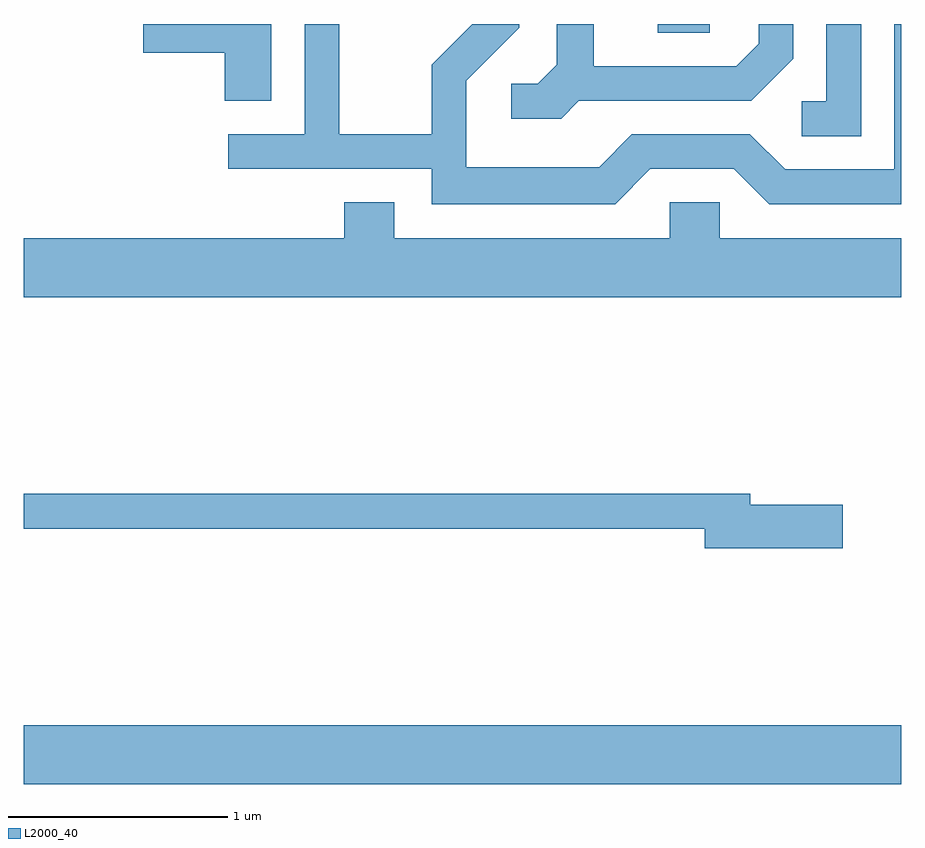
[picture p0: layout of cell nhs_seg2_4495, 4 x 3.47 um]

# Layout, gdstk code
import gdstk
lib = gdstk.Library(unit=1e-6, precision=1e-09)
def R(c, l, rs):  # rectangles x0, y0, x1, y1
    for r in rs: c.add(gdstk.rectangle(r[:2], r[2:], *l))
def P(c, l, *ps):  # polygons
    for p in ps: c.add(gdstk.Polygon(p, *l))
L2000_40 = (2000, 40)

nhs_seg2_4495 = lib.new_cell('nhs_seg2_4495')
R(nhs_seg2_4495, L2000_40, [(317.611,1028.336,321.611,1028.604), (320.501,1031.761,320.739,1031.802)])
P(nhs_seg2_4495, L2000_40, [(321.429,1031.802),(321.271,1031.802),(321.271,1031.449),(321.158,1031.449),(321.158,1031.291),(321.429,1031.291)],
  [(320.142,1031.451),(320.927,1031.451),(321.119,1031.644),(321.119,1031.802),(320.961,1031.802),(320.961,1031.712),(320.859,1031.609),(320.209,1031.609),(320.209,1031.802),(320.041,1031.802),(320.041,1031.617),(319.954,1031.529),(319.833,1031.529),(319.833,1031.371),(320.062,1031.371)],
  [(320.467,1031.141),(320.849,1031.141),(321.009,1030.981),(321.611,1030.981),(321.611,1031.802),(321.581,1031.802),(321.581,1031.139),(321.082,1031.139),(320.922,1031.299),(320.384,1031.299),(320.234,1031.149),(319.629,1031.149),(319.629,1031.544),(319.869,1031.784),(319.869,1031.802),(319.656,1031.802),(319.471,1031.617),(319.471,1031.299),(319.049,1031.299),(319.049,1031.802),(318.891,1031.802),(318.891,1031.299),(318.543,1031.299),(318.543,1031.141),(319.471,1031.141),(319.471,1030.981),(320.307,1030.981)],
  [(318.739,1031.802),(318.156,1031.802),(318.156,1031.671),(318.526,1031.671),(318.526,1031.451),(318.739,1031.451)],
  [(321.611,1030.824),(320.784,1030.824),(320.784,1030.989),(320.556,1030.989),(320.556,1030.824),(319.299,1030.824),(319.299,1030.989),(319.071,1030.989),(319.071,1030.824),(317.611,1030.824),(317.611,1030.556),(321.611,1030.556)],
  [(321.344,1029.609),(320.924,1029.609),(320.924,1029.659),(317.611,1029.659),(317.611,1029.501),(320.716,1029.501),(320.716,1029.411),(321.344,1029.411)])

lib.write_gds('nhs_seg2_4495.gds')
